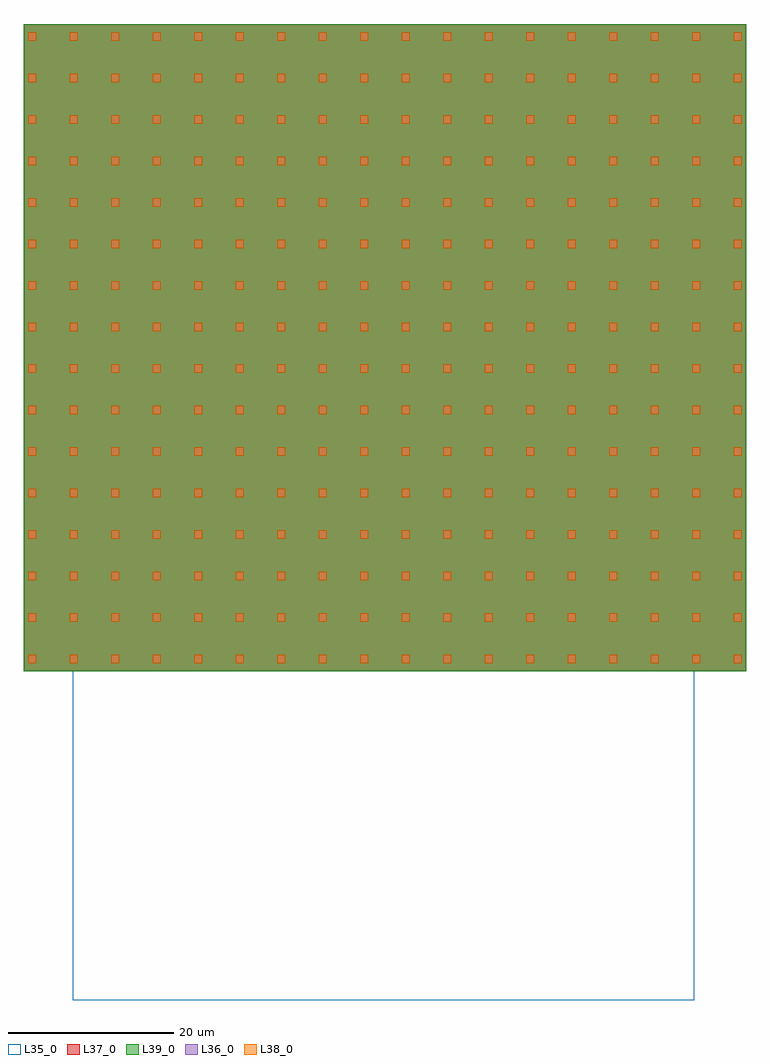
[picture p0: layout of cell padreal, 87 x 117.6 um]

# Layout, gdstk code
import gdstk
lib = gdstk.Library(unit=1e-6, precision=2.5e-08)
def R(c, l, rs):  # rectangles x0, y0, x1, y1
    for r in rs: c.add(gdstk.rectangle(r[:2], r[2:], *l))
def A(c, l, x, y, w, h, nx, ny, dx, dy):  # array of equal rectangles
    R(c, l, [(x+i*dx, y+j*dy, x+i*dx+w, y+j*dy+h) for i in range(nx) for j in range(ny)])
L35_0 = (35, 0)
L36_0 = (36, 0)
L37_0 = (37, 0)
L38_0 = (38, 0)
L39_0 = (39, 0)

padreal = lib.new_cell('padreal')
R(padreal, L35_0, [(4.9,-11.1,79.75,106.5), (-1,28.5,86,106.5)])
A(padreal, L36_0, -0.5, 29.5, 1, 1, 18, 16, 5, 5)
R(padreal, L37_0, [(-1,28.5,86,106.5)])
A(padreal, L38_0, -0.5, 29.5, 1, 1, 18, 16, 5, 5)
R(padreal, L39_0, [(-1,28.5,86,106.5)])

lib.write_gds('padreal.gds')
